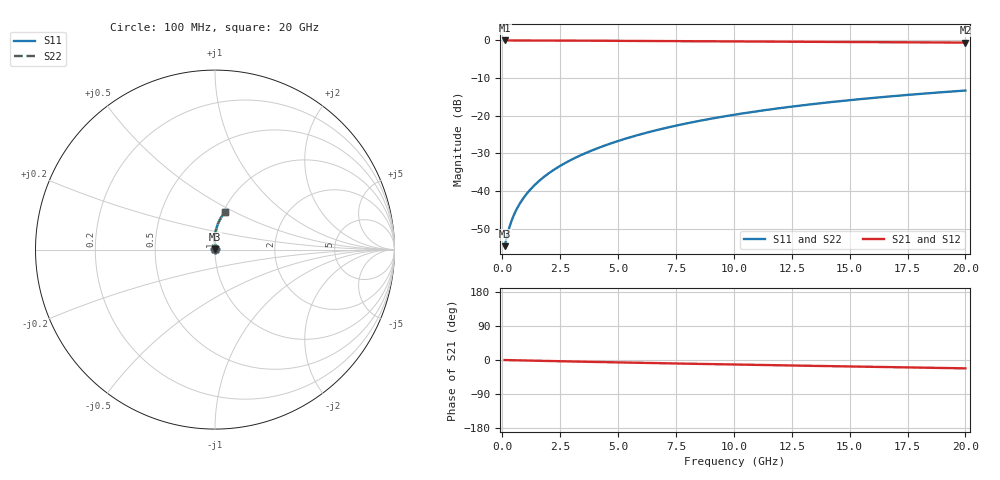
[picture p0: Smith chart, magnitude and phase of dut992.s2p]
! Touchstone file exported from HFSS 2024.1.0
!  File:  C:/UserFiles/LocalFiles/RDL_TSV_Batchsim/temp_RDL_bottom_992_1779943938.aedt
!  Generated:  12:54:48 PM May 28, 2026
!  Design:  RDL_bottom
!  Project:  temp_RDL_bottom_992_1779943938
!  Setup:  Setup1
!  Solution:  Sweep
! Variables:
!  dtsv = 10.80580581um
!  hbump = 3um
!  htsv = 67.48um
!  ldown = 288.25um
!  lrdl = 100um
!  p = 40
!  p1 = 53.81um
!  rhole = 1um
!  t = 450um
!  tdown = 2.88um
!  trdl = 3.915915916um
!  wdown = 27.81um
!  wrdl = 20um
# GHz S MA R 50.000000
! Terminal data exported
! Port[1] = RDL1_T1
! Port[2] = RDL1_T2
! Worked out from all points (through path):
!   200 points, 100 MHz to 20 GHz, reference 50 ohm
!   highest |S21| = -0.01 dB at 100 MHz (marker M1); lowest = -0.6 dB at 20 GHz (marker M2)
!   group delay of S21, straight-line fit = 3.02 ps
!   lowest |S11| = -54.6 dB at 100 MHz (marker M3), VSWR 1.00, Z = 50.2 + j0.0963 ohm
!   |S11| at or under -10 dB: start of sweep to end of sweep
!   |S22| runs from -54.6 to -13.3 dB; largest |S21 - S12| = 2.5e-15
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0.1  0.001852 31.2  0.9984 -0.1  0.9984 -0.1  0.001852 31.2
! Gamma 0 0 0 0
! Port Impedance 50 0 50 0
0.2  0.002505 48.8  0.9983 -0.3  0.9983 -0.3  0.002505 48.8
0.3  0.003259 58.0  0.9982 -0.4  0.9982 -0.4  0.003258 58.0
0.4  0.004029 63.6  0.9981 -0.5  0.9981 -0.5  0.004029 63.6
0.5  0.004802 67.6  0.998 -0.7  0.998 -0.7  0.004802 67.6
0.6  0.005578 70.6  0.9979 -0.8  0.9979 -0.8  0.005578 70.6
0.8  0.007147 75.0  0.9976 -1.1  0.9976 -1.1  0.007147 75.0
1.1  0.009555 79.3  0.9973 -1.5  0.9973 -1.5  0.009555 79.3
1.3  0.0112 81.4  0.997 -1.7  0.997 -1.7  0.0112 81.4
1.6  0.01371 83.7  0.9966 -2.1  0.9966 -2.1  0.01371 83.7
2.1  0.01802 86.3  0.9956 -2.8  0.9956 -2.8  0.01802 86.4
2.7  0.0234 88.4  0.9943 -3.5  0.9943 -3.5  0.0234 88.4
3.5  0.03094 90.1  0.9921 -4.5  0.9921 -4.5  0.03095 90.2
4.2  0.03787 90.9  0.9899 -5.4  0.9899 -5.4  0.03788 91.0
5  0.04615 91.4  0.9872 -6.3  0.9872 -6.3  0.04616 91.4
6.8  0.06585 90.9  0.9807 -8.4  0.9807 -8.4  0.06588 91.0
8.4  0.08417 89.6  0.9748 -10.2  0.9748 -10.2  0.08421 89.7
10.1  0.104 87.8  0.9687 -12.0  0.9687 -12.0  0.1041 87.8
11.7  0.1227 85.8  0.9631 -13.7  0.9631 -13.7  0.1228 85.9
13.4  0.1425 83.7  0.9573 -15.4  0.9573 -15.4  0.1426 83.7
16.7  0.18 79.5  0.9463 -18.8  0.9463 -18.8  0.1801 79.6
20  0.216 75.5  0.9352 -22.0  0.9352 -22.0  0.2162 75.5
